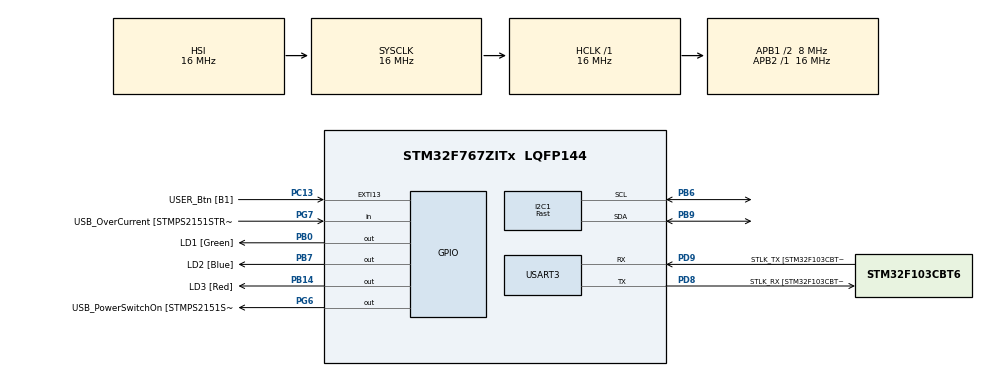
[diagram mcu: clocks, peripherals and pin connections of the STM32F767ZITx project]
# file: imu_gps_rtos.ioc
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FREERTOS.Tasks01=Tx_Data,24,256,Tx_A_G_Data,Default,NULL,Dynamic,NULL,NULL;getData,22,256,getA_G_Data,Default,NULL,Dynamic,NULL,NULL
FREERTOS.configUSE_NEWLIB_REENTRANT=1
I2C1.I2C_Speed_Mode=I2C_Fast
I2C1.Timing=0x0000020B
Mcu.Family=STM32F7
Mcu.Name=STM32F767ZITx
Mcu.Package=LQFP144
NVIC.PriorityGroup=NVIC_PRIORITYGROUP_4
NVIC.TIM6_DAC_IRQn=true\:15\:0\:false\:false\:true\:false\:false\:true\:true
NVIC.TimeBase=TIM6_DAC_IRQn
NVIC.TimeBaseIP=TIM6
PA1.GPIO_Label=RMII_REF_CLK [LAN8742A-CZ-TR_REFCLK0]
PA1.Signal=ETH_REF_CLK
PA10.GPIO_Label=USB_ID
PA10.Signal=USB_OTG_FS_ID
PA11.GPIO_Label=USB_DM
PA11.Signal=USB_OTG_FS_DM
PA12.GPIO_Label=USB_DP
PA12.Signal=USB_OTG_FS_DP
PA13.GPIO_Label=TMS
PA13.Signal=SYS_JTMS-SWDIO
PA14.GPIO_Label=TCK
PA14.Signal=SYS_JTCK-SWCLK
PA2.GPIO_Label=RMII_MDIO [LAN8742A-CZ-TR_MDIO]
PA2.Signal=ETH_MDIO
PA7.GPIO_Label=RMII_CRS_DV [LAN8742A-CZ-TR_CRS_DV]
PA7.Signal=ETH_CRS_DV
PA8.GPIO_Label=USB_SOF [TP1]
PA8.Signal=USB_OTG_FS_SOF
PA9.GPIO_Label=USB_VBUS
PA9.Signal=USB_OTG_FS_VBUS
PB0.GPIO_Label=LD1 [Green]
PB0.Signal=GPIO_Output
PB13.GPIO_Label=RMII_TXD1 [LAN8742A-CZ-TR_TXD1]
PB13.Signal=ETH_TXD1
PB14.GPIO_Label=LD3 [Red]
PB14.Signal=GPIO_Output
PB3.GPIO_Label=SW0
PB3.Signal=SYS_JTDO-SWO
PB6.Mode=I2C
PB6.Signal=I2C1_SCL
PB7.GPIO_Label=LD2 [Blue]
PB7.Signal=GPIO_Output
PB9.Mode=I2C
PB9.Signal=I2C1_SDA
PC1.GPIO_Label=RMII_MDC [LAN8742A-CZ-TR_MDC]
PC1.Signal=ETH_MDC
PC13.GPIO_Label=USER_Btn [B1]
PC13.Signal=GPXTI13
PC14/OSC32_IN.Signal=RCC_OSC32_IN
PC15/OSC32_OUT.Signal=RCC_OSC32_OUT
PC4.GPIO_Label=RMII_RXD0 [LAN8742A-CZ-TR_RXD0]
PC4.Signal=ETH_RXD0
PC5.GPIO_Label=RMII_RXD1 [LAN8742A-CZ-TR_RXD1]
PC5.Signal=ETH_RXD1
PD8.GPIO_Label=STLK_RX [STM32F103CBT6_PA3]
PD8.Mode=Asynchronous
PD8.Signal=USART3_TX
PD9.GPIO_Label=STLK_TX [STM32F103CBT6_PA2]
PD9.Mode=Asynchronous
PD9.Signal=USART3_RX
PG11.GPIO_Label=RMII_TX_EN [LAN8742A-CZ-TR_TXEN]
PG11.Signal=ETH_TX_EN
PG13.GPIO_Label=RMII_TXD0 [LAN8742A-CZ-TR_TXD0]
PG13.Signal=ETH_TXD0
PG6.GPIO_Label=USB_PowerSwitchOn [STMPS2151STR_EN]
PG6.Signal=GPIO_Output
PG7.GPIO_Label=USB_OverCurrent [STMPS2151STR_FAULT]
PG7.Signal=GPIO_Input
PH0/OSC_IN.GPIO_Label=MCO [STM32F103CBT6_PA8]
PH0/OSC_IN.Signal=RCC_OSC_IN
PH1/OSC_OUT.Signal=RCC_OSC_OUT
ProjectManager.HeapSize=0x200
ProjectManager.StackSize=0x400
ProjectManager.TargetToolchain=STM32CubeIDE
RCC.48MHZClocksFreq_Value=24000000
RCC.AHBFreq_Value=16000000
RCC.APB1CLKDivider=RCC_HCLK_DIV2
RCC.APB1Freq_Value=8000000
RCC.APB1TimFreq_Value=16000000
RCC.APB2Freq_Value=16000000
RCC.APB2TimFreq_Value=16000000
RCC.CortexFreq_Value=16000000
RCC.HCLKFreq_Value=16000000
RCC.HSE_VALUE=16000000
RCC.HSI_VALUE=16000000
RCC.LSE_VALUE=32768
RCC.PLLMUL=RCC_PLL_MUL9
RCC.PRESCALERUSB=RCC_USBCLKSOURCE_PLL_DIV1_5
RCC.SYSCLKFreq_VALUE=16000000
RCC.SYSCLKSourceVirtual=RCC_SYSCLKSOURCE_PLLCLK
RCC.USBFreq_Value=96000000
RCC.VCOOutputFreq_Value=192000000
USART3.VirtualMode-Asynchronous=VM_ASYNC
VP_FREERTOS_VS_CMSIS_V2.Mode=CMSIS_V2
VP_SYS_VS_tim6.Mode=TIM6
board=NUCLEO-F767ZI

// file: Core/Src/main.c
/* USER CODE BEGIN Header */
/**
  ******************************************************************************
  * @file           : main.c
  * @brief          : Main program body
  ******************************************************************************
  * @attention
  *
  * Copyright (c) 2023 STMicroelectronics.
  * All rights reserved.
  *
  * This software is licensed under terms that can be found in the LICENSE file
  * in the root directory of this software component.
  * If no LICENSE file comes with this software, it is provided AS-IS.
  *
  ******************************************************************************
  */
/* USER CODE END Header */
#include "main.h"
#include "cmsis_os.h"

/* USER CODE BEGIN Includes */
#include "MPU_6050.h"

/* USER CODE END Includes */

I2C_HandleTypeDef hi2c1;

UART_HandleTypeDef huart3;

/* Definitions for Tx_Data */
osThreadId_t Tx_DataHandle;
const osThreadAttr_t Tx_Data_attributes = {
  .name = "Tx_Data",
  .stack_size = 256 * 4,
  .priority = (osPriority_t) osPriorityNormal,
};
/* Definitions for getData */
osThreadId_t getDataHandle;
const osThreadAttr_t getData_attributes = {
  .name = "getData",
  .stack_size = 256 * 4,
  .priority = (osPriority_t) osPriorityBelowNormal6,
};
/* USER CODE BEGIN PV */

/* instantiating mpu_6050_t struct */
mpu_6050_t my_imu;

typedef enum
{
	NOT_SEND_DATA,
	SEND_DATA,
}sendData;

uint8_t TX_DATA = NOT_SEND_DATA;

//uint8_t uart_buff[10];
//uint8_t uart_len = 0;

/* USER CODE END PV */

void SystemClock_Config(void);
static void MX_GPIO_Init(void);
static void MX_I2C1_Init(void);
static void MX_USART3_UART_Init(void);
void Tx_A_G_Data(void *argument);
void getA_G_Data(void *argument);

int main(void)
{

  /* MCU Configuration--------------------------------------------------------*/

  /* Reset of all peripherals, Initializes the Flash interface and the Systick. */
  HAL_Init();

  /* Configure the system clock */
  SystemClock_Config();

  /* Initialize all configured peripherals */
  MX_GPIO_Init();
  MX_I2C1_Init();
  MX_USART3_UART_Init();
  /* USER CODE BEGIN 2 */
  //init_MPU_6050(&my_mpu, &hi2c1);
  init_MPU_6050(&my_imu, &hi2c1);

  wake(&my_imu);

  set_Sample_Rt(&my_imu);

  accel_Gyro_Config(&my_imu);

//  fifo_Enable(&my_imu);

  /* USER CODE END 2 */

  /* Init scheduler */
  osKernelInitialize();

  /* Create the thread(s) */
  /* creation of Tx_Data */
  Tx_DataHandle = osThreadNew(Tx_A_G_Data, NULL, &Tx_Data_attributes);

  /* creation of getData */
  getDataHandle = osThreadNew(getA_G_Data, NULL, &getData_attributes);

  /* Start scheduler */
  osKernelStart();

  /* We should never get here as control is now taken by the scheduler */
  /* Infinite loop */
  while (1)
  {

  }
}

void SystemClock_Config(void)
{
  RCC_OscInitTypeDef RCC_OscInitStruct = {0};
  RCC_ClkInitTypeDef RCC_ClkInitStruct = {0};

  /** Configure the main internal regulator output voltage
  */
  __HAL_RCC_PWR_CLK_ENABLE();
  __HAL_PWR_VOLTAGESCALING_CONFIG(PWR_REGULATOR_VOLTAGE_SCALE3);

  /** Initializes the RCC Oscillators according to the specified parameters
  * in the RCC_OscInitTypeDef structure.
  */
  RCC_OscInitStruct.OscillatorType = RCC_OSCILLATORTYPE_HSI;
  RCC_OscInitStruct.HSIState = RCC_HSI_ON;
  RCC_OscInitStruct.HSICalibrationValue = RCC_HSICALIBRATION_DEFAULT;
  RCC_OscInitStruct.PLL.PLLState = RCC_PLL_NONE;
  if (HAL_RCC_OscConfig(&RCC_OscInitStruct) != HAL_OK)
  {
    Error_Handler();
  }

  /** Initializes the CPU, AHB and APB buses clocks
  */
  RCC_ClkInitStruct.ClockType = RCC_CLOCKTYPE_HCLK|RCC_CLOCKTYPE_SYSCLK
                              |RCC_CLOCKTYPE_PCLK1|RCC_CLOCKTYPE_PCLK2;
  RCC_ClkInitStruct.SYSCLKSource = RCC_SYSCLKSOURCE_HSI;
  RCC_ClkInitStruct.AHBCLKDivider = RCC_SYSCLK_DIV1;
  RCC_ClkInitStruct.APB1CLKDivider = RCC_HCLK_DIV2;
  RCC_ClkInitStruct.APB2CLKDivider = RCC_HCLK_DIV1;

  if (HAL_RCC_ClockConfig(&RCC_ClkInitStruct, FLASH_LATENCY_0) != HAL_OK)
  {
    Error_Handler();
  }
}

static void MX_I2C1_Init(void)
{

  hi2c1.Instance = I2C1;
  hi2c1.Init.Timing = 0x0000020B;
  hi2c1.Init.OwnAddress1 = 0;
  hi2c1.Init.AddressingMode = I2C_ADDRESSINGMODE_7BIT;
  hi2c1.Init.DualAddressMode = I2C_DUALADDRESS_DISABLE;
  hi2c1.Init.OwnAddress2 = 0;
  hi2c1.Init.OwnAddress2Masks = I2C_OA2_NOMASK;
  hi2c1.Init.GeneralCallMode = I2C_GENERALCALL_DISABLE;
  hi2c1.Init.NoStretchMode = I2C_NOSTRETCH_DISABLE;
  if (HAL_I2C_Init(&hi2c1) != HAL_OK)
  {
    Error_Handler();
  }

  /** Configure Analogue filter
  */
  if (HAL_I2CEx_ConfigAnalogFilter(&hi2c1, I2C_ANALOGFILTER_ENABLE) != HAL_OK)
  {
    Error_Handler();
  }

  /** Configure Digital filter
  */
  if (HAL_I2CEx_ConfigDigitalFilter(&hi2c1, 0) != HAL_OK)
  {
    Error_Handler();
  }

}

static void MX_USART3_UART_Init(void)
{

  huart3.Instance = USART3;
  huart3.Init.BaudRate = 115200;
  huart3.Init.WordLength = UART_WORDLENGTH_8B;
  huart3.Init.StopBits = UART_STOPBITS_1;
  huart3.Init.Parity = UART_PARITY_NONE;
  huart3.Init.Mode = UART_MODE_TX_RX;
  huart3.Init.HwFlowCtl = UART_HWCONTROL_NONE;
  huart3.Init.OverSampling = UART_OVERSAMPLING_16;
  huart3.Init.OneBitSampling = UART_ONE_BIT_SAMPLE_DISABLE;
  huart3.AdvancedInit.AdvFeatureInit = UART_ADVFEATURE_NO_INIT;
  if (HAL_UART_Init(&huart3) != HAL_OK)
  {
    Error_Handler();
  }

}

static void MX_GPIO_Init(void)
{
  GPIO_InitTypeDef GPIO_InitStruct = {0};

  /* GPIO Ports Clock Enable */
  __HAL_RCC_GPIOC_CLK_ENABLE();
  __HAL_RCC_GPIOH_CLK_ENABLE();
  __HAL_RCC_GPIOA_CLK_ENABLE();
  __HAL_RCC_GPIOB_CLK_ENABLE();
  __HAL_RCC_GPIOD_CLK_ENABLE();
  __HAL_RCC_GPIOG_CLK_ENABLE();

  /*Configure GPIO pin Output Level */
  HAL_GPIO_WritePin(GPIOB, LD1_Pin|LD3_Pin|LD2_Pin, GPIO_PIN_RESET);

  /*Configure GPIO pin Output Level */
  HAL_GPIO_WritePin(USB_PowerSwitchOn_GPIO_Port, USB_PowerSwitchOn_Pin, GPIO_PIN_RESET);

  /*Configure GPIO pin : USER_Btn_Pin */
  GPIO_InitStruct.Pin = USER_Btn_Pin;
  GPIO_InitStruct.Mode = GPIO_MODE_IT_RISING;
  GPIO_InitStruct.Pull = GPIO_NOPULL;
  HAL_GPIO_Init(USER_Btn_GPIO_Port, &GPIO_InitStruct);

  /*Configure GPIO pins : RMII_MDC_Pin RMII_RXD0_Pin RMII_RXD1_Pin */
  GPIO_InitStruct.Pin = RMII_MDC_Pin|RMII_RXD0_Pin|RMII_RXD1_Pin;
  GPIO_InitStruct.Mode = GPIO_MODE_AF_PP;
  GPIO_InitStruct.Pull = GPIO_NOPULL;
  GPIO_InitStruct.Speed = GPIO_SPEED_FREQ_VERY_HIGH;
  GPIO_InitStruct.Alternate = GPIO_AF11_ETH;
  HAL_GPIO_Init(GPIOC, &GPIO_InitStruct);

  /*Configure GPIO pins : RMII_REF_CLK_Pin RMII_MDIO_Pin RMII_CRS_DV_Pin */
  GPIO_InitStruct.Pin = RMII_REF_CLK_Pin|RMII_MDIO_Pin|RMII_CRS_DV_Pin;
  GPIO_InitStruct.Mode = GPIO_MODE_AF_PP;
  GPIO_InitStruct.Pull = GPIO_NOPULL;
  GPIO_InitStruct.Speed = GPIO_SPEED_FREQ_VERY_HIGH;
  GPIO_InitStruct.Alternate = GPIO_AF11_ETH;
  HAL_GPIO_Init(GPIOA, &GPIO_InitStruct);

  /*Configure GPIO pins : LD1_Pin LD3_Pin LD2_Pin */
  GPIO_InitStruct.Pin = LD1_Pin|LD3_Pin|LD2_Pin;
  GPIO_InitStruct.Mode = GPIO_MODE_OUTPUT_PP;
  GPIO_InitStruct.Pull = GPIO_NOPULL;
  GPIO_InitStruct.Speed = GPIO_SPEED_FREQ_LOW;
  HAL_GPIO_Init(GPIOB, &GPIO_InitStruct);

  /*Configure GPIO pin : RMII_TXD1_Pin */
  GPIO_InitStruct.Pin = RMII_TXD1_Pin;
  GPIO_InitStruct.Mode = GPIO_MODE_AF_PP;
  GPIO_InitStruct.Pull = GPIO_NOPULL;
  GPIO_InitStruct.Speed = GPIO_SPEED_FREQ_VERY_HIGH;
  GPIO_InitStruct.Alternate = GPIO_AF11_ETH;
  HAL_GPIO_Init(RMII_TXD1_GPIO_Port, &GPIO_InitStruct);

  /*Configure GPIO pin : USB_PowerSwitchOn_Pin */
  GPIO_InitStruct.Pin = USB_PowerSwitchOn_Pin;
  GPIO_InitStruct.Mode = GPIO_MODE_OUTPUT_PP;
  GPIO_InitStruct.Pull = GPIO_NOPULL;
  GPIO_InitStruct.Speed = GPIO_SPEED_FREQ_LOW;
  HAL_GPIO_Init(USB_PowerSwitchOn_GPIO_Port, &GPIO_InitStruct);

  /*Configure GPIO pin : USB_OverCurrent_Pin */
  GPIO_InitStruct.Pin = USB_OverCurrent_Pin;
  GPIO_InitStruct.Mode = GPIO_MODE_INPUT;
  GPIO_InitStruct.Pull = GPIO_NOPULL;
  HAL_GPIO_Init(USB_OverCurrent_GPIO_Port, &GPIO_InitStruct);

  /*Configure GPIO pins : USB_SOF_Pin USB_ID_Pin USB_DM_Pin USB_DP_Pin */
  GPIO_InitStruct.Pin = USB_SOF_Pin|USB_ID_Pin|USB_DM_Pin|USB_DP_Pin;
  GPIO_InitStruct.Mode = GPIO_MODE_AF_PP;
  GPIO_InitStruct.Pull = GPIO_NOPULL;
  GPIO_InitStruct.Speed = GPIO_SPEED_FREQ_VERY_HIGH;
  GPIO_InitStruct.Alternate = GPIO_AF10_OTG_FS;
  HAL_GPIO_Init(GPIOA, &GPIO_InitStruct);

  /*Configure GPIO pin : USB_VBUS_Pin */
  GPIO_InitStruct.Pin = USB_VBUS_Pin;
  GPIO_InitStruct.Mode = GPIO_MODE_INPUT;
  GPIO_InitStruct.Pull = GPIO_NOPULL;
  HAL_GPIO_Init(USB_VBUS_GPIO_Port, &GPIO_InitStruct);

  /*Configure GPIO pins : RMII_TX_EN_Pin RMII_TXD0_Pin */
  GPIO_InitStruct.Pin = RMII_TX_EN_Pin|RMII_TXD0_Pin;
  GPIO_InitStruct.Mode = GPIO_MODE_AF_PP;
  GPIO_InitStruct.Pull = GPIO_NOPULL;
  GPIO_InitStruct.Speed = GPIO_SPEED_FREQ_VERY_HIGH;
  GPIO_InitStruct.Alternate = GPIO_AF11_ETH;
  HAL_GPIO_Init(GPIOG, &GPIO_InitStruct);

}

void Tx_A_G_Data(void *argument)
{
  /* USER CODE BEGIN 5 */

  /* Infinite loop */
  for(;;)
  {
	  if(TX_DATA)
	  {
		  formatAccel(&my_imu);

		  Tx_Accel(&my_imu, &huart3);

	  }

	  HAL_GPIO_TogglePin(GPIOB, GPIO_PIN_14);

	  TX_DATA = NOT_SEND_DATA;

	  osDelay(100);
  }

  osThreadTerminate(NULL);
  /* USER CODE END 5 */
}

void getA_G_Data(void *argument)
{
  /* USER CODE BEGIN getA_G_Data */
  /* Infinite loop */
  for(;;)
  {
	  if (get_Accel(&my_imu) != HAL_OK)
		  HAL_GPIO_TogglePin(GPIOB, GPIO_PIN_0);
	  else
		  TX_DATA = SEND_DATA;

    osDelay(25);
  }

  osThreadTerminate(NULL);
  /* USER CODE END getA_G_Data */
}

void HAL_TIM_PeriodElapsedCallback(TIM_HandleTypeDef *htim)
{
  if (htim->Instance == TIM6) {
    HAL_IncTick();
  }
}

void Error_Handler(void)
{
  __disable_irq();
  while (1)
  {
  }
}
